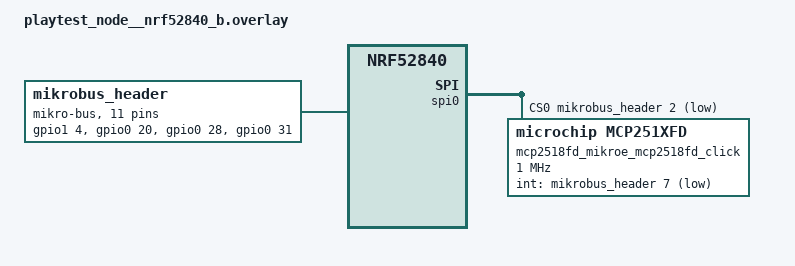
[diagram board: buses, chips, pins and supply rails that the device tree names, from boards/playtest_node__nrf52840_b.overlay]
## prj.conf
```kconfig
CONFIG_POLL=y
CONFIG_CAN=y
CONFIG_CAN_INIT_PRIORITY=80
CONFIG_CAN_MAX_FILTER=5

CONFIG_SHELL=y
CONFIG_CAN_SHELL=y
CONFIG_DEVICE_SHELL=y

CONFIG_GPIO=y
CONFIG_STATS=y
CONFIG_STATS_NAMES=y
CONFIG_STATS_SHELL=y
CONFIG_CAN_STATS=y
```

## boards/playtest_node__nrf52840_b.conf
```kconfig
CONFIG_UART_CONSOLE=n
CONFIG_RTT_CONSOLE=y
CONFIG_USE_SEGGER_RTT=y
CONFIG_SHELL_PROMPT_UART="can_test>"
CONFIG_SHELL_BACKEND_RTT=y

#CONFIG_CAN_LOG_LEVEL=4
#CAN_LOG_LEVEL_DBG
CONFIG_CAN_LOG_LEVEL_DBG=y

CONFIG_LOG=y


CONFIG_CAN_DEFAULT_BITRATE=125000
```

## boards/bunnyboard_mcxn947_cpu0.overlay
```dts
/*
 * Copyright 2021 Nordic Semiconductor ASA
 *
 * SPDX-License-Identifier: Apache-2.0
 */

/* This board disables can1 by default in favor of USB. */

//&pinctrl{
//
//	pinmux_flexcan0: pinmux_flexcan0 {
//		group0 {
//			pinmux = <CAN0_TXD_PIO1_2>,
//				<CAN0_RXD_PIO1_3>;
//			slew-rate = "fast";
//			drive-strength = "low";
//			input-enable;
//		};
//	};
//
//	/delete-node/ blue_led;
//	/delete-node/ red_led;
//
//};

/ {

//	aliases{
//		can-stby-pin = &can_stby_pin;
//	};
//
//	gpio_keys {
//		can_stby_pin: P010 {
//			gpios = <&gpio0 10 GPIO_ACTIVE_HIGH>;
//			label = "Can transceiver standby pin";
//		};
//    };


//    leds {
//		red_led: led_3 {
//			gpios = <&gpio3 19 GPIO_ACTIVE_HIGH>;
//			label = "Red LED";
//			status = "okay";
//		};
//	};

};



//	red_led: led_3 {
//		gpios = <&gpio0 10 GPIO_ACTIVE_>;
//		label = "Red LED";
//		status = "okay";
//	};

&flexcan0 {
	status = "disabled";
};

/delete-node/ &flexcan0;


mikrobus_spi: &flexcomm7_lpspi7 {
	status = "okay";
};

//&mikrobus_spi {
//	cs-gpios = <&mikrobus_header 2 GPIO_ACTIVE_LOW>;
//
//	mcp2518fd_mikroe_mcp2518fd_click: mcp2518fd@0 {
//		compatible = "microchip,mcp251xfd";
//		status = "okay";
//
//		spi-max-frequency = <18000000>;
//		int-gpios = <&mikrobus_header 7 GPIO_ACTIVE_LOW>;
//		reg = <0x0>;
//		osc-freq = <40000000>;
//
//	};
//};

/ {
	chosen {
		zephyr,canbus = &mcp2518fd_mikroe_mcp2518fd_click;
	};


	mikrobus_header: mikrobus-connector {
		compatible = "mikro-bus";
		#gpio-cells = <2>;
		gpio-map-mask = <0xffffffff 0xffffffc0>;
		gpio-map-pass-thru = <0 0x3f>;
 		gpio-map =	
				<0 0 &gpio0 16 0>,	/* AN  */
				/* Not a GPIO*/		/* RST */
				<2 0 &gpio3 2 0>,	/* CS   */
				<3 0 &gpio3 3 0>,	/* SCK  */
				<4 0 &gpio3 4 0>,	/* MISO */
				<5 0 &gpio3 5 0>,	/* MOSI */
							/* +3.3V */
							/* GND */
				<6 0 &gpio1 5 0>,	/* PWM  */
				<7 0 &gpio1 18 0>,	/* INT  */
				<8 0 &gpio1 24 0>,	/* RX   */
				<9 0 &gpio0 27 0>,	/* TX   */
				<10 0 &gpio1 20 0>,	/* SCL  */
				<11 0 &gpio1 21 0>;	/* SDA  */
							/* +5V */
							/* GND */
	};
};
```

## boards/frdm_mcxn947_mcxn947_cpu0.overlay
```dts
///*
// * Copyright 2021 Nordic Semiconductor ASA
// *
// * SPDX-License-Identifier: Apache-2.0
// */
//
///* This board disables can1 by default in favor of USB. */
//
//&pinctrl{
//
//	pinmux_flexcan0: pinmux_flexcan0 {
//		group0 {
//			pinmux = <CAN0_TXD_PIO1_2>,
//				<CAN0_RXD_PIO1_3>;
//			slew-rate = "fast";
//			drive-strength = "low";
//			input-enable;
//		};
//	};
//
//	/delete-node/ blue_led;
//	/delete-node/ red_led;
//
//};
//
/// {
//
//	aliases{
//		can-stby-pin = &can_stby_pin;
//	};
//
//	gpio_keys {
//		can_stby_pin: P010 {
//			gpios = <&gpio0 10 GPIO_ACTIVE_HIGH>;
//			label = "Can transceiver standby pin";
//		};
//    };
//
//
//    leds {
//		red_led: led_3 {
//			gpios = <&gpio3 19 GPIO_ACTIVE_LOW>;
//			label = "Red LED";
//			status = "okay";
//		};
//	};
//
//};
//
//&gpio3 {
//	status = "okay";
//};
//
//
////	red_led: led_3 {
////		gpios = <&gpio0 10 GPIO_ACTIVE_>;
////		label = "Red LED";
////		status = "okay";
////	};
//
//
//
```

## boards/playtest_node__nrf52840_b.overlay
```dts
mikrobus_spi: &spi0 {
	status = "okay";
};

&mikrobus_spi {
	cs-gpios = <&mikrobus_header 2 GPIO_ACTIVE_LOW>;
    status = "okay";
	mcp2518fd_mikroe_mcp2518fd_click: mcp2518fd@0 {
		compatible = "microchip,mcp251xfd";
		status = "okay";

		spi-max-frequency = <1000000>;
		int-gpios = <&mikrobus_header 7 GPIO_ACTIVE_LOW>;
		reg = <0x0>;
		osc-freq = <4000000>;

	};
};


// Not to colide with the mikrobus assignments
&sw_pwm {
    status = "disabled";
};

&i2s0 {
    status = "disabled";
};

/ {
	chosen {
		zephyr,canbus = &mcp2518fd_mikroe_mcp2518fd_click;
	};

    aliases{
		can-stby-pin = &can_stby_pin;
	};

    gpio_pins {
		can_stby_pin: P010 {
			gpios = <&gpio0 10 GPIO_ACTIVE_HIGH>;
			label = "Can transceiver standby pin";
		};

		can_int_pin: P009 {
			gpios = <&gpio0 9 GPIO_ACTIVE_LOW>;
			label = "Can transceiver interrupt pin";
		};
    };


    mikrobus_header: mikrobus-connector {
		compatible = "mikro-bus";
		#gpio-cells = <2>;
		gpio-map-mask = <0xffffffff 0xffffffc0>;
		gpio-map-pass-thru = <0 0x3f>;
 		gpio-map =	
				<0 0 &gpio1 4 0>,	/* AN  */       //standby pin
				/* Not a GPIO*/		/* RST */
				<2 0 &gpio0 20 0>,	/* CS   */      //ready
				<3 0 &gpio0 28 0>,	/* SCK  */      //ready 
				<4 0 &gpio0 31 0>,	/* MISO */      //ready
				<5 0 &gpio0 2 0>,	/* MOSI */      //ready
							/* +3.3V */
							/* GND */
				<6 0 &gpio1 5 0>,	/* PWM  */
				<7 0 &gpio0 9 0>,	/* INT  */      //ready 
				<8 0 &gpio1 24 0>,	/* RX   */      //apparently fixed
				<9 0 &gpio0 27 0>,	/* TX   */      // Not used
				<10 0 &gpio1 6 0>,	/* SCL  */      // Not used
				<11 0 &gpio1 4 0>;	/* SDA  */      // Not used
							/* +5V */
							/* GND */
	};

};

&gpio0 {
	status = "okay";
};
```

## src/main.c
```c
/*
 * Copyright (c) 2018 Alexander Wachter
 *
 * SPDX-License-Identifier: Apache-2.0
 */

#include <stdio.h>

#include <zephyr/kernel.h>
#include <zephyr/sys/printk.h>
#include <zephyr/device.h>
#include <zephyr/drivers/can.h>
#include <zephyr/drivers/gpio.h>
#include <zephyr/sys/byteorder.h>

#define RX_THREAD_STACK_SIZE 512
#define RX_THREAD_PRIORITY 2
#define STATE_POLL_THREAD_STACK_SIZE 512
#define STATE_POLL_THREAD_PRIORITY 2
#define LED_MSG_ID 0x10
#define COUNTER_MSG_ID 0x12345
#define SET_LED 1
#define RESET_LED 0
#define SLEEP_TIME K_MSEC(1000)

K_THREAD_STACK_DEFINE(rx_thread_stack, RX_THREAD_STACK_SIZE);
K_THREAD_STACK_DEFINE(poll_state_stack, STATE_POLL_THREAD_STACK_SIZE);

const struct device *const can_dev = DEVICE_DT_GET(DT_CHOSEN(zephyr_canbus));
struct gpio_dt_spec led = GPIO_DT_SPEC_GET_OR(DT_ALIAS(led0), gpios, {0});

struct k_thread rx_thread_data;
struct k_thread poll_state_thread_data;
struct k_work_poll change_led_work;
struct k_work state_change_work;
enum can_state current_state;
struct can_bus_err_cnt current_err_cnt;

CAN_MSGQ_DEFINE(change_led_msgq, 2);
CAN_MSGQ_DEFINE(counter_msgq, 2);

static struct k_poll_event change_led_events[1] = {
	K_POLL_EVENT_STATIC_INITIALIZER(K_POLL_TYPE_MSGQ_DATA_AVAILABLE,
					K_POLL_MODE_NOTIFY_ONLY,
					&change_led_msgq, 0)
};

void tx_irq_callback(const struct device *dev, int error, void *arg)
{
	char *sender = (char *)arg;

	ARG_UNUSED(dev);

	if (error != 0) {
		printf("Callback! error-code: %d\nSender: %s\n",
		       error, sender);
	}
}

void rx_thread(void *arg1, void *arg2, void *arg3)
{
	ARG_UNUSED(arg1);
	ARG_UNUSED(arg2);
	ARG_UNUSED(arg3);
	const struct can_filter filter = {
		.flags = CAN_FILTER_IDE,
		.id = COUNTER_MSG_ID,
		.mask = CAN_EXT_ID_MASK
	};
	struct can_frame frame;
	int filter_id;

	filter_id = can_add_rx_filter_msgq(can_dev, &counter_msgq, &filter);
	printf("Counter filter id: %d\n", filter_id);

	while (1) {
		k_msgq_get(&counter_msgq, &frame, K_FOREVER);

		if (IS_ENABLED(CONFIG_CAN_ACCEPT_RTR) && (frame.flags & CAN_FRAME_RTR) != 0U) {
			continue;
		}

		if (frame.dlc != 2U) {
			printf("Wrong data length: %u\n", frame.dlc);
			continue;
		}

		printf("Counter received: %u\n",
		       sys_be16_to_cpu(UNALIGNED_GET((uint16_t *)&frame.data)));
	}
}

void change_led_work_handler(struct k_work *work)
{
	struct can_frame frame;
	int ret;

	while (k_msgq_get(&change_led_msgq, &frame, K_NO_WAIT) == 0) {
		if (IS_ENABLED(CONFIG_CAN_ACCEPT_RTR) && (frame.flags & CAN_FRAME_RTR) != 0U) {
			continue;
		}

		if (led.port == NULL) {
			printf("LED %s\n", frame.data[0] == SET_LED ? "ON" : "OFF");
		} else {
			gpio_pin_set(led.port, led.pin, frame.data[0] == SET_LED ? 1 : 0);
		}
	}

	ret = k_work_poll_submit(&change_led_work, change_led_events,
				 ARRAY_SIZE(change_led_events), K_FOREVER);
	if (ret != 0) {
		printf("Failed to resubmit msgq polling: %d", ret);
	}
}

char *state_to_str(enum can_state state)
{
	switch (state) {
	case CAN_STATE_ERROR_ACTIVE:
		return "error-active";
	case CAN_STATE_ERROR_WARNING:
		return "error-warning";
	case CAN_STATE_ERROR_PASSIVE:
		return "error-passive";
	case CAN_STATE_BUS_OFF:
		return "bus-off";
	case CAN_STATE_STOPPED:
		return "stopped";
	default:
		return "unknown";
	}
}

void poll_state_thread(void *unused1, void *unused2, void *unused3)
{
	struct can_bus_err_cnt err_cnt = {0, 0};
	struct can_bus_err_cnt err_cnt_prev = {0, 0};
	enum can_state state_prev = CAN_STATE_ERROR_ACTIVE;
	enum can_state state;
	int err;

	while (1) {
		err = can_get_state(can_dev, &state, &err_cnt);
		if (err != 0) {
			printf("Failed to get CAN controller state: %d", err);
			k_sleep(K_MSEC(100));
			continue;
		}

		if (err_cnt.tx_err_cnt != err_cnt_prev.tx_err_cnt ||
		    err_cnt.rx_err_cnt != err_cnt_prev.rx_err_cnt ||
		    state_prev != state) {

			err_cnt_prev.tx_err_cnt = err_cnt.tx_err_cnt;
			err_cnt_prev.rx_err_cnt = err_cnt.rx_err_cnt;
			state_prev = state;
			printf("state: %s\n"
			       "rx error count: %d\n"
			       "tx error count: %d\n",
			       state_to_str(state),
			       err_cnt.rx_err_cnt, err_cnt.tx_err_cnt);
		} else {
			k_sleep(K_MSEC(100));
		}
	}
}

void state_change_work_handler(struct k_work *work)
{
	printf("State Change ISR\nstate: %s\n"
	       "rx error count: %d\n"
	       "tx error count: %d\n",
		state_to_str(current_state),
		current_err_cnt.rx_err_cnt, current_err_cnt.tx_err_cnt);
}

void state_change_callback(const struct device *dev, enum can_state state,
			   struct can_bus_err_cnt err_cnt, void *user_data)
{
	struct k_work *work = (struct k_work *)user_data;

	ARG_UNUSED(dev);

	current_state = state;
	current_err_cnt = err_cnt;
	k_work_submit(work);
}

#if defined(CONFIG_BOARD_BUNNYBOARD_MCXN947_CPU0) | defined(CONFIG_BOARD_PLAYTEST_NODE__NRF52840_B) 
struct gpio_dt_spec can_stby_pin = GPIO_DT_SPEC_GET(DT_ALIAS(can_stby_pin), gpios);
#endif

int main(void)
{
	const struct can_filter change_led_filter = {
		.flags = 0U,
		.id = LED_MSG_ID,
		.mask = CAN_STD_ID_MASK
	};
	struct can_frame change_led_frame = {
		.flags = 0,
		.id = LED_MSG_ID,
		.dlc = 1
	};
	struct can_frame counter_frame = {
		.flags = CAN_FRAME_IDE,
		.id = COUNTER_MSG_ID,
		.dlc = 2
	};
	uint8_t toggle = 1;
	uint16_t counter = 0;
	k_tid_t rx_tid, get_state_tid;
	int ret;

	if (!device_is_ready(can_dev)) {
		printf("CAN: Device %s not ready.\n", can_dev->name);
		return 0;
	}
#if defined(CONFIG_BOARD_BUNNYBOARD_MCXN947_CPU0) | defined(CONFIG_BOARD_PLAYTEST_NODE__NRF52840_B) 
	gpio_pin_configure_dt(&can_stby_pin, GPIO_OUTPUT | GPIO_ACTIVE_HIGH);
	gpio_pin_set_dt(&can_stby_pin, 0);
#endif

#ifdef CONFIG_LOOPBACK_MODE
	ret = can_set_mode(can_dev, CAN_MODE_LOOPBACK);
	if (ret != 0) {
		printf("Error setting CAN mode [%d]", ret);
		return 0;
	}
#endif

	// Standby pin to 0


	ret = can_start(can_dev);
	if (ret != 0) {
		printf("Error starting CAN controller [%d]", ret);
		return 0;
	}

	if (led.port != NULL) {
		if (!gpio_is_ready_dt(&led)) {
			printf("LED: Device %s not ready.\n",
			       led.port->name);
			return 0;
		}
		ret = gpio_pin_configure_dt(&led, GPIO_OUTPUT_HIGH);
		if (ret < 0) {
			printf("Error setting LED pin to output mode [%d]",
			       ret);
			led.port = NULL;
		}
	}

	k_work_init(&state_change_work, state_change_work_handler);
	k_work_poll_init(&change_led_work, change_led_work_handler);

	ret = can_add_rx_filter_msgq(can_dev, &change_led_msgq, &change_led_filter);
	if (ret == -ENOSPC) {
		printf("Error, no filter available!\n");
		return 0;
	}

	printf("Change LED filter ID: %d\n", ret);

	ret = k_work_poll_submit(&change_led_work, change_led_events,
				 ARRAY_SIZE(change_led_events), K_FOREVER);
	if (ret != 0) {
		printf("Failed to submit msgq polling: %d", ret);
		return 0;
	}

	rx_tid = k_thread_create(&rx_thread_data, rx_thread_stack,
				 K_THREAD_STACK_SIZEOF(rx_thread_stack),
				 rx_thread, NULL, NULL, NULL,
				 RX_THREAD_PRIORITY, 0, K_NO_WAIT);
	if (!rx_tid) {
		printf("ERROR spawning rx thread\n");
	}

	get_state_tid = k_thread_create(&poll_state_thread_data,
					poll_state_stack,
					K_THREAD_STACK_SIZEOF(poll_state_stack),
					poll_state_thread, NULL, NULL, NULL,
					STATE_POLL_THREAD_PRIORITY, 0,
					K_NO_WAIT);
	if (!get_state_tid) {
		printf("ERROR spawning poll_state_thread\n");
	}

	can_set_state_change_callback(can_dev, state_change_callback, &state_change_work);

	printf("Finished init.\n");

	while (1) {
		change_led_frame.data[0] = toggle++ & 0x01 ? SET_LED : RESET_LED;
		/* This sending call is none blocking. */
		can_send(can_dev, &change_led_frame, K_FOREVER,
			 tx_irq_callback,
			 "LED change");
		k_sleep(SLEEP_TIME);

		UNALIGNED_PUT(sys_cpu_to_be16(counter),
			      (uint16_t *)&counter_frame.data[0]);
		counter++;
		/* This sending call is blocking until the message is sent. */
		can_send(can_dev, &counter_frame, K_MSEC(100), NULL, NULL);
		k_sleep(SLEEP_TIME);
	}
}
```
